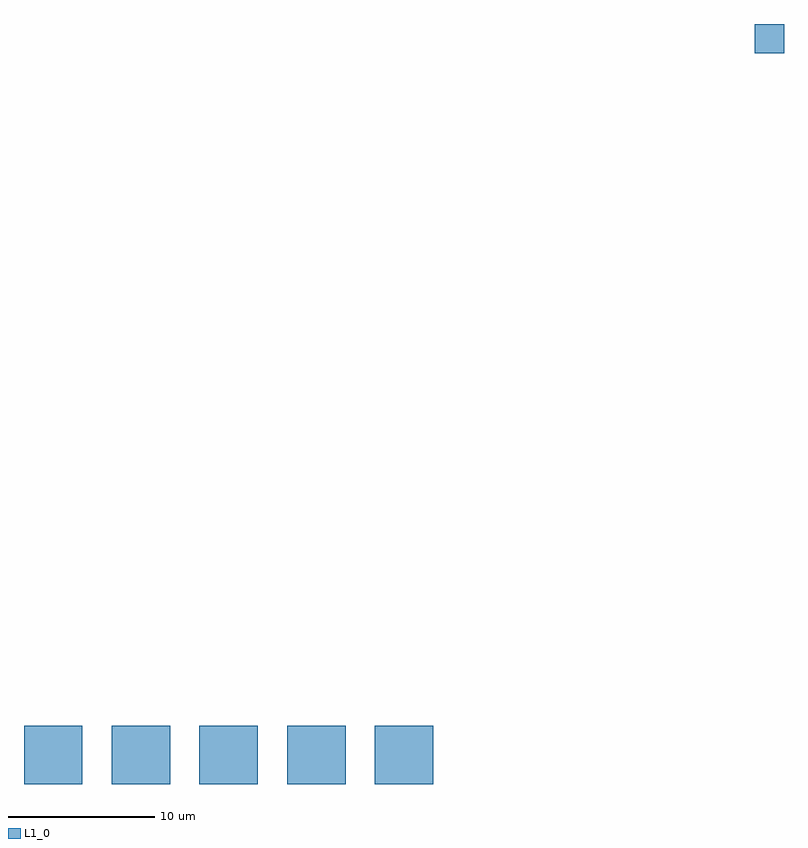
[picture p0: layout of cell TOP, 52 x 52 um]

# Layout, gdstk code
import gdstk
lib = gdstk.Library(unit=1e-6, precision=1e-09)
def R(c, l, rs):  # rectangles x0, y0, x1, y1
    for r in rs: c.add(gdstk.rectangle(r[:2], r[2:], *l))
def A(c, l, x, y, w, h, nx, ny, dx, dy):  # array of equal rectangles
    R(c, l, [(x+i*dx, y+j*dy, x+i*dx+w, y+j*dy+h) for i in range(nx) for j in range(ny)])
L1_0 = (1, 0)

top = lib.new_cell('TOP')
A(top, L1_0, 0, 0, 4, 4, 5, 1, 6, 0)
R(top, L1_0, [(50,50,52,52)])

lib.write_gds('TOP.gds')
